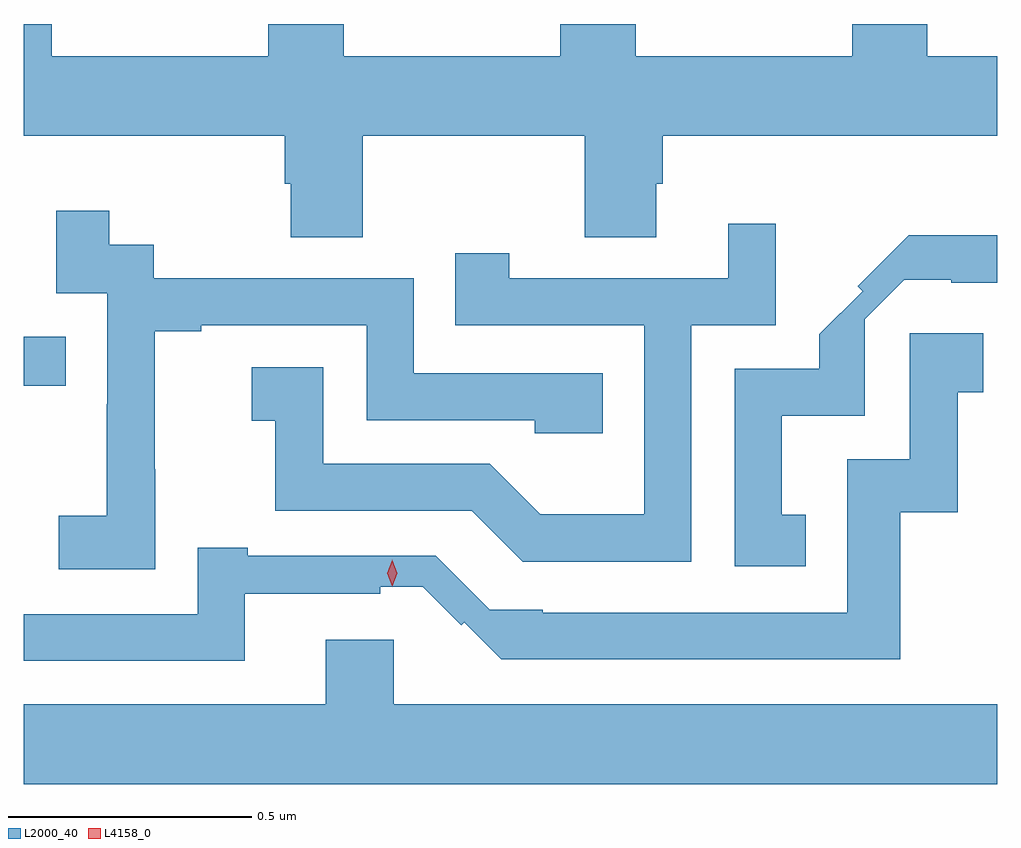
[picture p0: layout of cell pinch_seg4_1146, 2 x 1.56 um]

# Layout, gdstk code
import gdstk
lib = gdstk.Library(unit=1e-6, precision=1e-09)
def R(c, l, rs):  # rectangles x0, y0, x1, y1
    for r in rs: c.add(gdstk.rectangle(r[:2], r[2:], *l))
def P(c, l, *ps):  # polygons
    for p in ps: c.add(gdstk.Polygon(p, *l))
L2000_40 = (2000, 40)
L4158_0 = (4158, 0)

pinch_seg4_1146 = lib.new_cell('pinch_seg4_1146')
R(pinch_seg4_1146, L2000_40, [(515.337,793.642,515.423,793.743)])
P(pinch_seg4_1146, L2000_40, [(517.337,794.32),(517.194,794.32),(517.194,794.386),(517.039,794.386),(517.039,794.32),(516.594,794.32),(516.594,794.386),(516.439,794.386),(516.439,794.32),(515.994,794.32),(515.994,794.386),(515.839,794.386),(515.839,794.32),(515.394,794.32),(515.394,794.386),(515.337,794.386),(515.337,794.156),(515.873,794.156),(515.873,794.058),(515.885,794.058),(515.885,793.948),(516.033,793.948),(516.033,794.156),(516.49,794.156),(516.49,793.948),(516.637,793.948),(516.637,794.058),(516.65,794.058),(516.65,794.156),(517.337,794.156)],
  [(515.607,793.471),(515.606,793.471),(515.606,793.755),(515.701,793.755),(515.701,793.767),(516.042,793.767),(516.042,793.572),(516.387,793.572),(516.387,793.545),(516.527,793.545),(516.527,793.668),(516.138,793.668),(516.138,793.863),(515.604,793.863),(515.604,793.932),(515.512,793.932),(515.512,794.002),(515.403,794.002),(515.403,793.833),(515.508,793.833),(515.508,793.604),(515.507,793.604),(515.507,793.375),(515.409,793.375),(515.409,793.265),(515.607,793.265)],
  [(516.708,793.767),(516.882,793.767),(516.882,793.975),(516.785,793.975),(516.785,793.863),(516.334,793.863),(516.334,793.915),(516.223,793.915),(516.223,793.767),(516.612,793.767),(516.612,793.378),(516.398,793.378),(516.294,793.482),(515.952,793.482),(515.952,793.681),(515.805,793.681),(515.805,793.571),(515.854,793.571),(515.854,793.386),(516.257,793.386),(516.362,793.281),(516.708,793.281)],
  [(516.944,793.377),(516.895,793.377),(516.895,793.581),(517.065,793.581),(517.065,793.779),(517.146,793.86),(517.243,793.86),(517.243,793.854),(517.337,793.854),(517.337,793.952),(517.155,793.952),(517.051,793.847),(517.061,793.837),(516.972,793.748),(516.972,793.677),(516.798,793.677),(516.798,793.272),(516.944,793.272)],
  [(515.791,793.215),(516.069,793.215),(516.069,793.229),(516.157,793.229),(516.236,793.15),(516.242,793.156),(516.318,793.08),(517.138,793.08),(517.138,793.383),(517.256,793.383),(517.256,793.629),(517.309,793.629),(517.309,793.75),(517.158,793.75),(517.158,793.491),(517.029,793.491),(517.029,793.176),(516.403,793.176),(516.403,793.182),(516.294,793.182),(516.183,793.293),(515.797,793.293),(515.797,793.31),(515.694,793.31),(515.694,793.173),(515.337,793.173),(515.337,793.077),(515.791,793.077)],
  [(517.337,792.988),(516.097,792.988),(516.097,793.12),(515.957,793.12),(515.957,792.988),(515.337,792.988),(515.337,792.824),(517.337,792.824)])
P(pinch_seg4_1146, L4158_0, [(516.094,793.23),(516.094,793.23),(516.084,793.257),(516.094,793.284),(516.094,793.285),(516.094,793.284),(516.104,793.257),(516.094,793.23)])

lib.write_gds('pinch_seg4_1146.gds')
